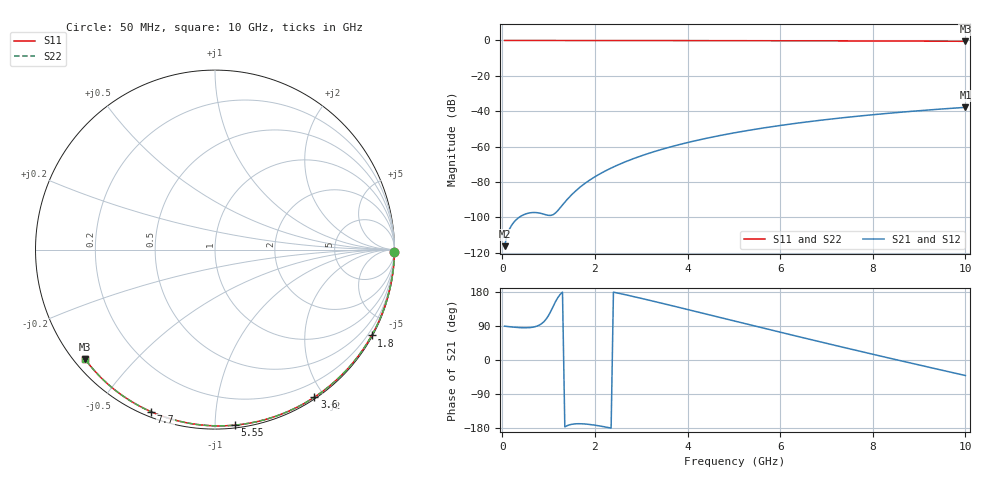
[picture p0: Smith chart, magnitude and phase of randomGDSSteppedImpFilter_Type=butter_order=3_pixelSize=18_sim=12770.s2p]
! freq	dB(S11)	phase(S11)	dB(S12)	phase(S12)
!  dB(S21)	phase(S21)	dB(S22)	phase(S22)
!S-par simulation data
#  GHz  S  DB  R 50
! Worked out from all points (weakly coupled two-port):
!   200 points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, 50 MHz to 10 GHz, reference 50 ohm
!   highest |S21| = -37.81 dB at 10 GHz (marker M1); lowest = -116.3 dB at 50 MHz (marker M2)
!   lowest |S11| = -0.5 dB at 10 GHz (marker M3), VSWR 36.65, Z = 1.55 - j18.3 ohm
!   |S11| at or under -10 dB: nowhere
!   |S22| runs from -0.5 to 0.0 dB; largest |S21 - S12| = 0
!   S11 on the Smith chart (normalised r, x): 50 MHz: open; 1.8 GHz: 0.03, -3.91; 3.6 GHz: 0.02, -1.88; 5.55 GHz: 0.02, -1.12; 7.7 GHz: 0.02, -0.68; 10 GHz: 0.03, -0.37
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0.05  -0.00 -0.8  -116.28 89.3  -116.28 89.3  -0.00 -0.8
0.45  -0.01 -7.3  -98.65 85.0  -98.65 85.0  -0.01 -7.3
0.9  -0.02 -14.5  -98.23 101.2  -98.23 101.2  -0.02 -14.5
1.75  -0.04 -27.9  -81.48 -168.5  -81.48 -168.5  -0.04 -27.9
1.8  -0.04 -28.7  -80.51 -169.0  -80.51 -169.0  -0.04 -28.7
1.85  -0.04 -29.5  -79.59 -169.6  -79.59 -169.6  -0.04 -29.5
2.05  -0.04 -32.6  -76.27 -173.0  -76.27 -173.0  -0.04 -32.6
2.25  -0.05 -35.7  -73.42 -177.3  -73.42 -177.3  -0.05 -35.7
2.55  -0.05 -40.3  -69.75 175.2  -69.75 175.2  -0.05 -40.3
2.95  -0.06 -46.4  -65.68 164.1  -65.68 164.1  -0.06 -46.4
3.4  -0.07 -53.1  -61.89 151.1  -61.89 151.1  -0.07 -53.1
3.6  -0.08 -56.0  -60.40 145.2  -60.40 145.2  -0.08 -56.0
3.9  -0.08 -60.4  -58.35 136.3  -58.35 136.3  -0.08 -60.4
4.3  -0.09 -66.2  -55.91 124.3  -55.91 124.3  -0.09 -66.2
5.05  -0.12 -76.7  -52.03 101.8  -52.03 101.8  -0.12 -76.7
5.55  -0.14 -83.5  -49.83 86.8  -49.83 86.8  -0.14 -83.5
6.1  -0.16 -90.9  -47.69 70.5  -47.69 70.5  -0.16 -90.9
6.7  -0.19 -98.7  -45.64 52.8  -45.64 52.8  -0.19 -98.7
7.7  -0.26 -111.5  -42.75 23.7  -42.75 23.7  -0.26 -111.5
8.35  -0.31 -119.5  -41.14 5.2  -41.14 5.2  -0.31 -119.5
9.2  -0.39 -130.0  -39.30 -18.7  -39.30 -18.7  -0.39 -130.0
10  -0.47 -139.7  -37.81 -40.9  -37.81 -40.9  -0.47 -139.7
